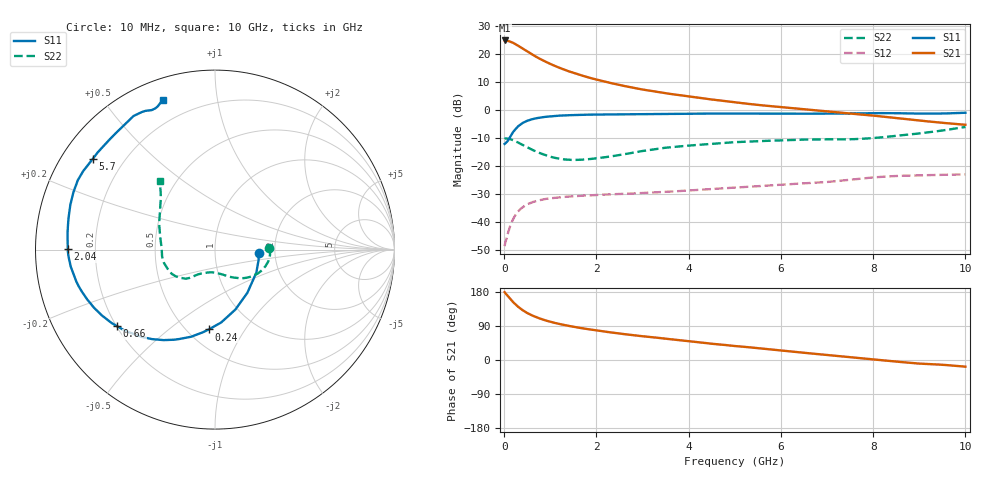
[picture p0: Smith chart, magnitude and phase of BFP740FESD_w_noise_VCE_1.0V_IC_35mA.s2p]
! Infineon Technologies  Discrete & RF Semiconductors
! BFP740FESD
! VCE =  1.0 V,  IC =  35 mA
! Common Emitter S-Parameters:  Jan 2016
# GHz  S  MA  R  50
!  f  S11  S21  S12  S22
! GHz  MAG  ANG  MAG  ANG  MAG  ANG  MAG  ANG
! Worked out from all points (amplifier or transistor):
!   233 points, 10 MHz to 10 GHz, reference 50 ohm
!   highest |S21| = 24.7 dB at 20 MHz (marker M1)
!   |S21| within 3 dB of that: start of sweep to 411.1 MHz
!   unconditionally stable (mu >= 1): start of sweep to end of sweep
!   at 200 MHz: K = 2.16, MAG = 25.2 dB, |S12| = -38.8 dB
!   at 1.74 GHz: K = 1.39, MAG = 17.5 dB, |S12| = -30.6 dB
!   at 10 GHz: K = 2.47, MAG = 2.1 dB, |S12| = -23.0 dB
!   lowest NFmin = 1.06 dB at 450 MHz
!   S11 on the Smith chart (normalised r, x): 10 MHz: 1.65, -0.07; 240 MHz: 0.63, -0.70; 660 MHz: 0.20, -0.33; 2.04 GHz: 0.10, +0.00; 5.7 GHz: 0.09, +0.33; 10 GHz: 0.09, +0.71
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0.01  0.2453 -4.8  17.14 179.0  0.0037 11.0  0.3023 1.7
0.02  0.2495 -13.4  17.17 177.1  0.0042 19.4  0.307 -2.0
0.1  0.3009 -53.2  16.71 165.7  0.0071 44.5  0.3044 -12.4
0.15  0.3527 -71.2  16.18 158.6  0.0093 49.1  0.2957 -18.4
0.2  0.4072 -85.1  15.48 152.1  0.0115 49.9  0.2853 -24.0
0.24  0.4462 -94.4  14.81 147.4  0.0131 49.1  0.2759 -28.0
0.3  0.5039 -105.4  13.89 140.8  0.0153 47.4  0.2609 -33.5
0.4  0.5795 -119.5  12.31 131.5  0.0183 43.9  0.2364 -41.5
0.5  0.6354 -130.0  10.92 124.0  0.0205 40.6  0.2137 -48.3
0.66  0.6928 -142.0  9.112 114.8  0.0231 36.3  0.1849 -57.0
0.8  0.7293 -149.8  7.873 108.2  0.0248 33.4  0.1655 -63.9
1.02  0.7645 -158.8  6.448 100.2  0.0265 30.3  0.1442 -73.6
1.32  0.7938 -167.5  5.12 91.9  0.0281 27.7  0.1298 -86.5
1.68  0.8116 -174.8  4.088 84.0  0.0293 26.5  0.1286 -100.0
2.04  0.8203 179.8  3.387 77.5  0.0303 26.3  0.1374 -110.1
2.62  0.8292 171.8  2.635 68.0  0.0317 26.8  0.1617 -122.8
3.4  0.8414 163.9  2.028 57.6  0.034 29.2  0.205 -130.9
5.1  0.8533 148.5  1.324 35.9  0.0414 33.3  0.2664 -146.6
5.7  0.8482 143.3  1.175 29.0  0.0446 33.7  0.279 -153.4
6.8  0.8502 132.2  0.965 15.6  0.0504 34.0  0.2953 -169.5
8.4  0.8681 118.0  0.726 -3.1  0.0653 29.8  0.336 157.4
10  0.883 109.2  0.539 -17.6  0.0704 21.1  0.4932 128.7
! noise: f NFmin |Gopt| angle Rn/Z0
0.45  1.06  0.21  -171  0.08
2.4  1.1  0.22  -158  0.09
5.5  1.26  0.25  -159  0.1
10  1.79  0.43  -113  0.25
